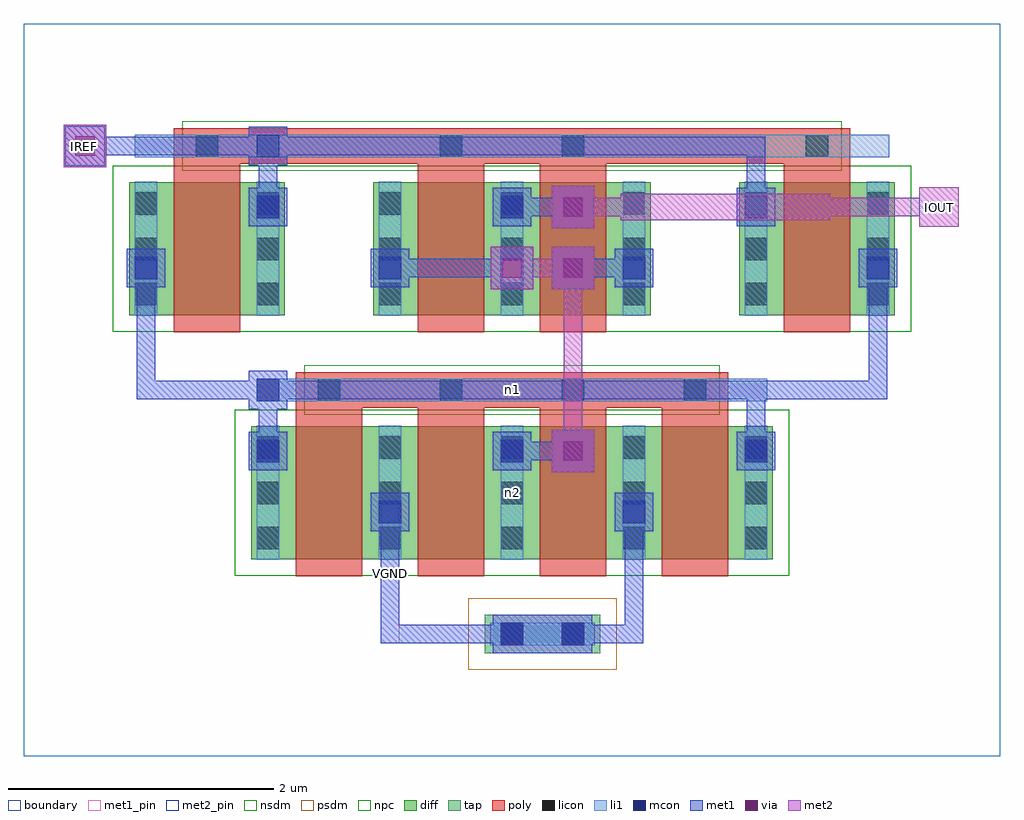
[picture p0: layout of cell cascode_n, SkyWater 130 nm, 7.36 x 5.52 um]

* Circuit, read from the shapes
.subckt cascode_n IOUT IREF VGND n1 n2
XM1 IREF IREF n1 VGND sky130_fd_pr__nfet_01v8 w=1 l=0.5 m=2
XM2 VGND n1 n1 VGND sky130_fd_pr__nfet_01v8 w=1 l=0.5 m=2
XM3 n2 n1 VGND VGND sky130_fd_pr__nfet_01v8 w=1 l=0.5 m=2
XM4 IOUT IREF n2 VGND sky130_fd_pr__nfet_01v8 w=1 l=0.5 m=2
.ends

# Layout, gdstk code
import gdstk
lib = gdstk.Library(unit=1e-6, precision=1e-09)
def R(c, l, rs):  # rectangles x0, y0, x1, y1
    for r in rs: c.add(gdstk.rectangle(r[:2], r[2:], *l))
def A(c, l, x, y, w, h, nx, ny, dx, dy):  # array of equal rectangles
    R(c, l, [(x+i*dx, y+j*dy, x+i*dx+w, y+j*dy+h) for i in range(nx) for j in range(ny)])
diff = (65, 20)
tap = (65, 44)
poly = (66, 20)
licon = (66, 44)
li1 = (67, 20)
mcon = (67, 44)
met1_pin = (68, 16)
met1 = (68, 20)
via = (68, 44)
met2_pin = (69, 16)
met2 = (69, 20)
nsdm = (93, 44)
psdm = (94, 20)
npc = (95, 20)
boundary = (235, 4)

cascode_n = lib.new_cell('cascode_n')
R(cascode_n, diff, [(1.715,1.485,5.645,2.485), (0.795,3.325,1.965,4.325), (2.635,3.325,4.725,4.325), (5.395,3.325,6.565,4.325)])
R(cascode_n, tap, [(3.475,0.775,4.345,1.065)])
A(cascode_n, poly, 2.05, 1.355, 0.5, 1.405, 4, 1, 0.92, 0)
R(cascode_n, poly, [(2.05,2.625,5.31,2.895), (1.13,3.195,1.63,4.6), (2.97,3.195,3.47,4.6), (3.89,3.195,4.39,4.6), (5.73,3.195,6.23,4.6), (1.13,4.465,6.23,4.735)])
A(cascode_n, licon, 1.755, 1.56, 0.17, 0.17, 5, 3, 0.92, 0.34)
A(cascode_n, licon, 2.215, 2.675, 0.17, 0.17, 4, 1, 0.92, 0)
A(cascode_n, licon, 0.835, 3.4, 0.17, 0.17, 7, 3, 0.92, 0.34)
R(cascode_n, licon, [(3.595,0.835,3.765,1.005), (4.055,0.835,4.225,1.005), (1.295,4.515,1.465,4.685), (3.135,4.515,3.305,4.685), (4.055,4.515,4.225,4.685), (5.895,4.515,6.065,4.685)])
A(cascode_n, li1, 1.755, 1.48, 0.17, 1.01, 5, 1, 0.92, 0)
A(cascode_n, li1, 0.835, 3.32, 0.17, 1.01, 7, 1, 0.92, 0)
R(cascode_n, li1, [(3.515,0.835,4.305,1.005), (1.755,2.675,5.605,2.845), (0.835,4.515,6.525,4.685)])
A(cascode_n, mcon, 1.755, 2.215, 0.17, 0.17, 3, 2, 1.84, 1.84)
A(cascode_n, mcon, 0.835, 3.595, 0.17, 0.17, 4, 1, 1.84, 0)
R(cascode_n, mcon, [(3.595,0.835,3.765,1.005), (4.055,0.835,4.225,1.005), (2.675,1.755,2.845,1.925), (4.515,1.755,4.685,1.925), (1.755,2.675,1.925,2.845), (1.755,4.515,1.925,4.685)])
R(cascode_n, met1_pin, [(2.69,0.85,2.83,1.91)])
A(cascode_n, met1, 1.695, 2.155, 0.29, 0.29, 3, 2, 1.84, 1.84)
A(cascode_n, met1, 0.775, 3.535, 0.29, 0.29, 4, 1, 1.84, 0)
R(cascode_n, met1, [(3.535,0.775,4.285,1.065), (2.69,0.85,3.75,0.99), (2.69,0.85,2.83,1.91), (3.61,0.85,4.67,0.99), (3.61,0.85,3.75,0.99), (4.53,0.85,4.67,1.91), (2.615,1.695,2.905,1.985), (4.455,1.695,4.745,1.985), (3.98,2.14,4.3,2.46), (1.77,2.23,1.91,2.83), (3.61,2.23,4.21,2.37), (5.45,2.23,5.59,2.83), (1.695,2.615,1.985,2.905), (0.85,2.69,1.91,2.83), (0.85,2.69,0.99,3.75), (1.77,2.69,5.59,2.83), (5.45,2.69,6.51,2.83), (6.37,2.69,6.51,3.75), (3.52,3.52,3.84,3.84), (3.98,3.52,4.3,3.84), (2.69,3.61,3.75,3.75), (4.07,3.61,4.67,3.75), (3.98,3.98,4.3,4.3), (1.77,4.07,1.91,4.67), (3.61,4.07,4.21,4.21), (5.45,4.07,5.59,4.67), (0.3,4.44,0.62,4.76), (1.695,4.455,1.985,4.745), (0.39,4.53,1.91,4.67), (1.77,4.53,5.59,4.67)])
R(cascode_n, via, [(4.065,2.225,4.215,2.375), (3.605,3.605,3.755,3.755), (4.065,3.605,4.215,3.755), (4.065,4.065,4.215,4.215), (0.385,4.525,0.535,4.675)])
R(cascode_n, met2_pin, [(6.75,3.99,7.05,4.29), (0.31,4.45,0.61,4.75)])
R(cascode_n, met2, [(3.98,2.14,4.3,2.46), (4.07,2.23,4.21,3.75), (3.52,3.52,3.84,3.84), (3.98,3.52,4.3,3.84), (3.61,3.61,4.21,3.75), (3.98,3.98,4.3,4.3), (6.75,3.99,7.05,4.29), (4.5,4.04,6.08,4.24), (4.07,4.07,4.67,4.21), (5.91,4.07,6.97,4.21), (6.83,4.07,6.97,4.21), (0.3,4.44,0.62,4.76), (0.31,4.45,0.61,4.75), (0.39,4.53,0.53,4.67)])
R(cascode_n, nsdm, [(1.59,1.36,5.77,2.61), (0.67,3.2,6.69,4.45)])
R(cascode_n, psdm, [(3.35,0.65,4.47,1.19)])
R(cascode_n, npc, [(2.115,2.575,5.245,2.945), (1.195,4.415,6.165,4.785)])
R(cascode_n, boundary, [(0,0,7.36,5.52)])
cascode_n.add(gdstk.Label('n1', (3.68,2.76), layer=67, texttype=5))
cascode_n.add(gdstk.Label('n2', (3.68,1.985), layer=67, texttype=5))
cascode_n.add(gdstk.Label('VGND', (2.76,1.38), layer=68, texttype=5))
cascode_n.add(gdstk.Label('IREF', (0.46,4.6), layer=69, texttype=5))
cascode_n.add(gdstk.Label('IOUT', (6.9,4.14), layer=69, texttype=5))
cascode_n.add(gdstk.Label('VGND', (2.76,1.38), layer=68, texttype=16))
cascode_n.add(gdstk.Label('IREF', (0.46,4.6), layer=69, texttype=16))
cascode_n.add(gdstk.Label('IOUT', (6.9,4.14), layer=69, texttype=16))

lib.write_gds('cascode_n.gds')
